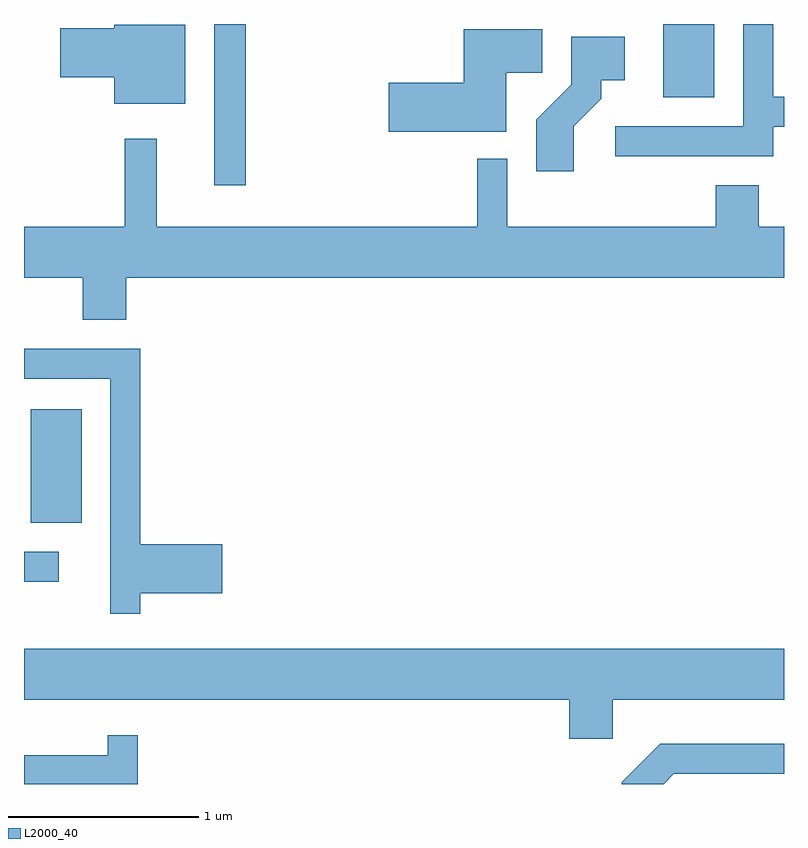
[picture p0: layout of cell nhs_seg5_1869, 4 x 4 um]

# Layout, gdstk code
import gdstk
lib = gdstk.Library(unit=1e-6, precision=1e-09)
def R(c, l, rs):  # rectangles x0, y0, x1, y1
    for r in rs: c.add(gdstk.rectangle(r[:2], r[2:], *l))
def P(c, l, *ps):  # polygons
    for p in ps: c.add(gdstk.Polygon(p, *l))
L2000_40 = (2000, 40)

nhs_seg5_1869 = lib.new_cell('nhs_seg5_1869')
R(nhs_seg5_1869, L2000_40, [(239.611,1515.136,239.793,1515.294), (239.646,1515.446,239.914,1516.044), (240.611,1517.223,240.779,1518.072), (242.976,1517.686,243.244,1518.072)])
P(nhs_seg5_1869, L2000_40, [(243.554,1517.531),(243.611,1517.531),(243.611,1517.689),(243.554,1517.689),(243.554,1518.072),(243.396,1518.072),(243.396,1517.534),(242.723,1517.534),(242.723,1517.376),(243.554,1517.376)],
  [(240.459,1518.069),(240.086,1518.069),(240.086,1518.049),(239.801,1518.049),(239.801,1517.791),(240.086,1517.791),(240.086,1517.651),(240.459,1517.651)],
  [(242.149,1517.816),(242.339,1517.816),(242.339,1518.044),(241.926,1518.044),(241.926,1517.764),(241.531,1517.764),(241.531,1517.506),(242.149,1517.506)],
  [(242.504,1517.534),(242.649,1517.679),(242.649,1517.776),(242.774,1517.776),(242.774,1518.004),(242.491,1518.004),(242.491,1517.752),(242.306,1517.567),(242.306,1517.296),(242.504,1517.296)],
  [(240.149,1516.736),(243.611,1516.736),(243.611,1517.004),(243.479,1517.004),(243.479,1517.224),(243.251,1517.224),(243.251,1517.004),(242.154,1517.004),(242.154,1517.363),(241.996,1517.363),(241.996,1517.004),(240.309,1517.004),(240.309,1517.468),(240.141,1517.468),(240.141,1517.004),(239.611,1517.004),(239.611,1516.736),(239.921,1516.736),(239.921,1516.516),(240.149,1516.516)],
  [(240.224,1515.076),(240.654,1515.076),(240.654,1515.334),(240.224,1515.334),(240.224,1516.364),(239.611,1516.364),(239.611,1516.206),(240.066,1516.206),(240.066,1514.968),(240.224,1514.968)],
  [(242.709,1514.516),(243.611,1514.516),(243.611,1514.784),(239.611,1514.784),(239.611,1514.516),(242.481,1514.516),(242.481,1514.311),(242.709,1514.311)],
  [(240.209,1514.328),(240.051,1514.328),(240.051,1514.224),(239.611,1514.224),(239.611,1514.072),(240.209,1514.072)],
  [(243.032,1514.126),(243.611,1514.126),(243.611,1514.284),(242.959,1514.284),(242.756,1514.082),(242.756,1514.072),(242.978,1514.072)])

lib.write_gds('nhs_seg5_1869.gds')
